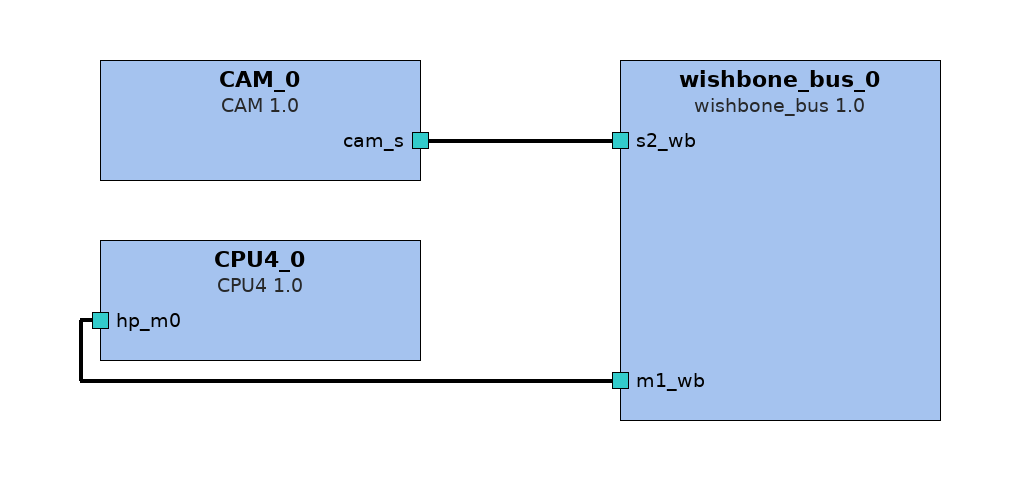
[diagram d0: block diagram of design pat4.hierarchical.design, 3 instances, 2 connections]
<?xml version="1.0" encoding="UTF-8"?>
<!-- Created by Kactus218:45:42 12.06.2014 -->
<spirit:design xmlns:kactus2="http://funbase.cs.tut.fi/" xmlns:spirit="http://www.spiritconsortium.org/XMLSchema/SPIRIT/1.5" xmlns:xsi="http://www.w3.org/2001/XMLSchema-instance" xsi:schemaLocation="http://www.spiritconsortium.org/XMLSchema/SPIRIT/1.5 http://www.spiritconsortium.org/XMLSchema/SPIRIT/1.5/index.xsd"><spirit:vendor>TUM</spirit:vendor><spirit:library>soc</spirit:library><spirit:name>pat4.hierarchical.design</spirit:name>
 <spirit:version>1.0</spirit:version><spirit:componentInstances>
 <spirit:componentInstance><spirit:instanceName>wishbone_bus_0</spirit:instanceName><spirit:componentRef spirit:vendor="TUM" spirit:library="soc" spirit:name="wishbone_bus" spirit:version="1.0"/></spirit:componentInstance>
 <spirit:componentInstance><spirit:instanceName>CAM_0</spirit:instanceName><spirit:componentRef spirit:vendor="TUM" spirit:library="soc" spirit:name="CAM" spirit:version="1.0"/></spirit:componentInstance>
 <spirit:componentInstance><spirit:instanceName>CPU4_0</spirit:instanceName><spirit:componentRef spirit:vendor="TUM" spirit:library="soc" spirit:name="CPU4" spirit:version="1.0"/></spirit:componentInstance>
</spirit:componentInstances><spirit:interconnections>
 <spirit:interconnection><spirit:name>CAM_0_cam_s_to_wishbone_bus_0_s2_wb</spirit:name><spirit:activeInterface spirit:componentRef="CAM_0" spirit:busRef="cam_s"/><spirit:activeInterface spirit:componentRef="wishbone_bus_0" spirit:busRef="s2_wb"/></spirit:interconnection>
 <spirit:interconnection><spirit:name>CPU4_0_hp_m0_to_wishbone_bus_0_m1_wb</spirit:name><spirit:activeInterface spirit:componentRef="CPU4_0" spirit:busRef="hp_m0"/><spirit:activeInterface spirit:componentRef="wishbone_bus_0" spirit:busRef="m1_wb"/></spirit:interconnection>
</spirit:interconnections></spirit:design>

